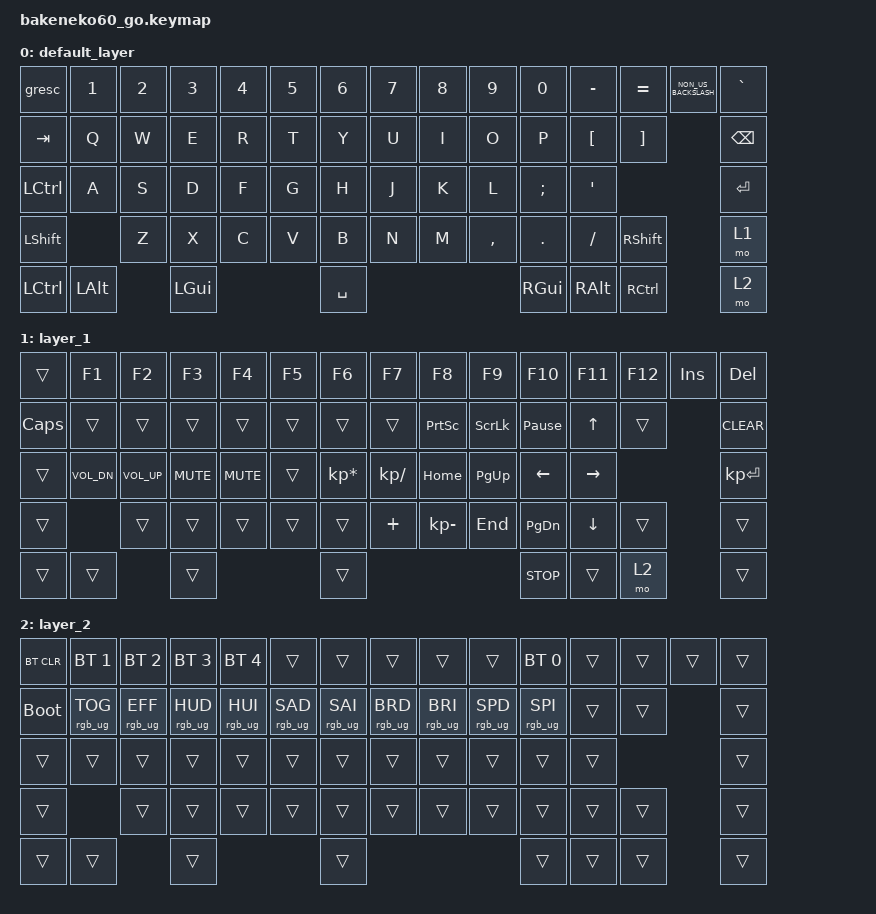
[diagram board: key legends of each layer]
/*
 * Copyright (c) 2023 Andrew Kannan
 *
 * SPDX-License-Identifier: MIT
 */

#include <behaviors.dtsi>
#include <dt-bindings/zmk/bt.h>
#include <dt-bindings/zmk/keys.h>
#include <dt-bindings/zmk/rgb.h>

/ {
    keymap {
        compatible = "zmk,keymap";

        default_layer {
            // ------------------------------------------------------------------------------------------
            // | ESC |  1  |  2  |  3  |  4  |  5  |  6  |  7  |  8  |  9  |  0  |  -  |  =  | BKSP|BKSP|
            // | TAB  |  Q  |  W  |  E  |  R  |  T  |  Y  |  U  |  I  |  O  |  P  |  [  |  ]  |   "|"   |
            // | CAPS  |  A  |  S  |  D  |  F  |  G  |  H  |  J  |  K  |  L  |  ;  |  '  |     ENTER    |
            // |  SHIFT  |  Z  |  X  |  C  |  V  |  B  |  N  |  M  |  ,  |  .  |  /  |  SHIFT  | MO(1)  |
            // |  CTL  |  WIN  |  ALT  |            SPACE              |  ALT  |  WIN  |  MO(1) |  CTL  |
            // ------------------------------------------------------------------------------------------

            bindings = <
&gresc            &kp N1        &kp N2  &kp N3    &kp N4  &kp N5  &kp N6     &kp N7  &kp N8  &kp N9     &kp N0         &kp MINUS      &kp EQUAL  &kp NON_US_BACKSLASH  &kp GRAVE
&kp TAB           &kp Q         &kp W   &kp E     &kp R   &kp T   &kp Y      &kp U   &kp I   &kp O      &kp P          &kp LBKT       &kp RBKT                         &kp BACKSPACE
&kp LEFT_CONTROL  &kp A         &kp S   &kp D     &kp F   &kp G   &kp H      &kp J   &kp K   &kp L      &kp SEMI       &kp SQT                                         &kp RET
&kp LSHFT                       &kp Z   &kp X     &kp C   &kp V   &kp B      &kp N   &kp M   &kp COMMA  &kp DOT        &kp FSLH       &kp RSHFT                        &mo 1
&kp LCTRL         &kp LEFT_ALT          &kp LGUI                  &kp SPACE                             &kp RIGHT_GUI  &kp RIGHT_ALT  &kp RCTRL                        &mo 2
            >;
        };

        layer_1 {
            // ------------------------------------------------------------------------------------------------
            // |    `   | F1  | F2  | F3  | F4  | F5  | F6  | F7  | F8  | F9  | F10  | F11 | F12 |     | DEL  |
            // | EFCT REV|   |  UP |   | HUEUP | SATUP | BRIUP | SPDUP |      |  PGUP |    |     |    |       |
            // | EFCT FWD | LT |  DN  | RT | HUEDN | SATDN | BRIDN | SPDDN | HOME | PGDN | END  |  | BOOTLDR  |
            // |             |     |      |      |     |     |     |     |     |     |     |         |        |
            // |         |      |      |             TOG RGB                | PRT SCR |       |       |  MO(2)|
            // ------------------------------------------------------------------------------------------------

            bindings = <
&trans        &kp F1        &kp F2           &kp F3      &kp F4      &kp F5  &kp F6           &kp F7         &kp F8           &kp F9          &kp F10          &kp F11    &kp F12  &kp INSERT  &kp DEL
&kp CAPSLOCK  &trans        &trans           &trans      &trans      &trans  &trans           &trans         &kp PRINTSCREEN  &kp SCROLLLOCK  &kp PAUSE_BREAK  &kp UP     &trans               &kp CLEAR
&trans        &kp C_VOL_DN  &kp C_VOLUME_UP  &kp C_MUTE  &kp C_MUTE  &trans  &kp KP_MULTIPLY  &kp KP_DIVIDE  &kp HOME         &kp PAGE_UP     &kp LEFT         &kp RIGHT                       &kp KP_ENTER
&trans                      &trans           &trans      &trans      &trans  &trans           &kp PLUS       &kp KP_MINUS     &kp END         &kp PAGE_DOWN    &kp DOWN   &trans               &trans
&trans        &trans                         &trans                          &trans                                                           &kp C_STOP       &trans     &mo 2                &trans
            >;
        };

        layer_2 {
            // ------------------------------------------------------------------------------------------------
            // | BT CLR |     |     |     |     |     |     |     |     |     |     |    |    |       |       |
            // |  BT 1   |   |     |   |       |       |       |       |   |     |    |     |     |           |
            // |   BT 2   |    |      |    |       |       |       |       |      |      |      |  |   Reset  |
            // |    BT 3     |     |      |      |     |     |     |     |     |     |     |         |        |
            // |   BT 4  |      |      |                                    |         |       |       |       |
            // ------------------------------------------------------------------------------------------------

            bindings = <
&bt BT_CLR   &bt BT_SEL 1     &bt BT_SEL 2     &bt BT_SEL 3     &bt BT_SEL 4     &trans           &trans           &trans           &trans           &trans           &bt BT_SEL 0     &trans  &trans  &trans  &trans
&bootloader  &rgb_ug RGB_TOG  &rgb_ug RGB_EFF  &rgb_ug RGB_HUD  &rgb_ug RGB_HUI  &rgb_ug RGB_SAD  &rgb_ug RGB_SAI  &rgb_ug RGB_BRD  &rgb_ug RGB_BRI  &rgb_ug RGB_SPD  &rgb_ug RGB_SPI  &trans  &trans          &trans
&trans       &trans           &trans           &trans           &trans           &trans           &trans           &trans           &trans           &trans           &trans           &trans                  &trans
&trans                        &trans           &trans           &trans           &trans           &trans           &trans           &trans           &trans           &trans           &trans  &trans          &trans
&trans       &trans                            &trans                                             &trans                                                              &trans           &trans  &trans          &trans
            >;
        };
    };

    combos {
        compatible = "zmk,combos";

        combo_bt {
            timeout-ms = <50>;
            key-positions = <61 62>;
            bindings = <&mo 2>;
        };
    };
};
